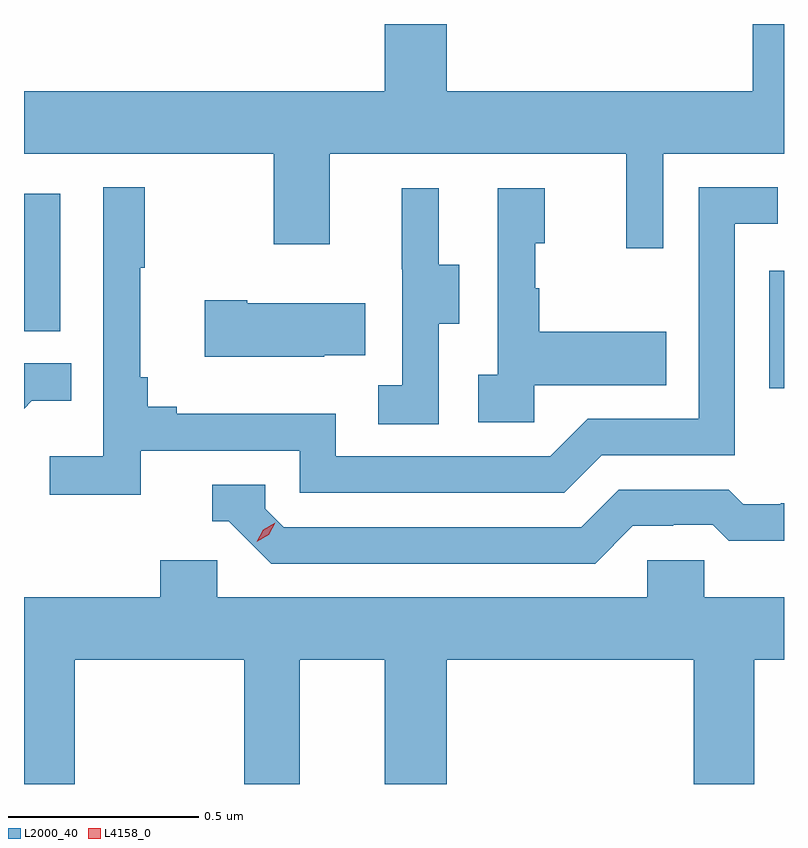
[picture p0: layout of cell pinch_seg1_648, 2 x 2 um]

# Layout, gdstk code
import gdstk
lib = gdstk.Library(unit=1e-6, precision=1e-09)
def R(c, l, rs):  # rectangles x0, y0, x1, y1
    for r in rs: c.add(gdstk.rectangle(r[:2], r[2:], *l))
def P(c, l, *ps):  # polygons
    for p in ps: c.add(gdstk.Polygon(p, *l))
L2000_40 = (2000, 40)
L4158_0 = (4158, 0)

pinch_seg1_648 = lib.new_cell('pinch_seg1_648')
R(pinch_seg1_648, L2000_40, [(1089.096,520.479,1089.135,520.788), (1087.135,520.629,1087.231,520.99)])
P(pinch_seg1_648, L2000_40, [(1088.817,521.096),(1089.135,521.096),(1089.135,521.437),(1089.053,521.437),(1089.053,521.26),(1088.248,521.26),(1088.248,521.437),(1088.084,521.437),(1088.084,521.26),(1087.135,521.26),(1087.135,521.096),(1087.792,521.096),(1087.792,520.857),(1087.939,520.857),(1087.939,521.096),(1088.72,521.096),(1088.72,520.847),(1088.817,520.847)],
  [(1087.442,520.314),(1087.86,520.314),(1087.86,520.203),(1088.557,520.203),(1088.656,520.302),(1089.006,520.302),(1089.006,520.911),(1089.119,520.911),(1089.119,521.007),(1088.91,521.007),(1088.91,520.398),(1088.619,520.398),(1088.52,520.299),(1087.956,520.299),(1087.956,520.411),(1087.537,520.411),(1087.537,520.43),(1087.46,520.43),(1087.46,520.507),(1087.441,520.507),(1087.441,520.795),(1087.453,520.795),(1087.453,521.008),(1087.344,521.008),(1087.344,520.3),(1087.203,520.3),(1087.203,520.198),(1087.442,520.198)],
  [(1088.226,520.648),(1088.281,520.648),(1088.281,520.803),(1088.227,520.803),(1088.227,521.005),(1088.129,521.005),(1088.129,520.791),(1088.13,520.791),(1088.13,520.487),(1088.067,520.487),(1088.067,520.384),(1088.226,520.384)],
  [(1088.478,520.487),(1088.825,520.487),(1088.825,520.627),(1088.491,520.627),(1088.491,520.742),(1088.481,520.742),(1088.481,520.86),(1088.506,520.86),(1088.506,521.005),(1088.382,521.005),(1088.382,520.514),(1088.331,520.514),(1088.331,520.389),(1088.478,520.389)],
  [(1087.925,520.565),(1088.033,520.565),(1088.033,520.702),(1087.723,520.702),(1087.723,520.71),(1087.611,520.71),(1087.611,520.562),(1087.925,520.562)],
  [(1087.155,520.445),(1087.259,520.445),(1087.259,520.544),(1087.135,520.544),(1087.135,520.425)],
  [(1088.737,520.116),(1088.844,520.116),(1088.844,520.119),(1088.947,520.119),(1088.989,520.077),(1089.135,520.077),(1089.135,520.176),(1089.127,520.176),(1089.127,520.173),(1089.028,520.173),(1088.989,520.212),(1088.7,520.212),(1088.601,520.113),(1087.818,520.113),(1087.77,520.161),(1087.77,520.224),(1087.631,520.224),(1087.631,520.128),(1087.674,520.128),(1087.785,520.017),(1088.638,520.017)],
  [(1087.644,520.026),(1087.493,520.026),(1087.493,519.928),(1087.135,519.928),(1087.135,519.437),(1087.269,519.437),(1087.269,519.764),(1087.714,519.764),(1087.714,519.437),(1087.861,519.437),(1087.861,519.764),(1088.084,519.764),(1088.084,519.437),(1088.248,519.437),(1088.248,519.764),(1088.897,519.764),(1088.897,519.437),(1089.057,519.437),(1089.057,519.764),(1089.135,519.764),(1089.135,519.928),(1088.925,519.928),(1088.925,520.026),(1088.775,520.026),(1088.775,519.928),(1087.644,519.928)])
P(pinch_seg1_648, L4158_0, [(1087.748,520.074),(1087.748,520.074),(1087.765,520.106),(1087.796,520.125),(1087.796,520.125),(1087.796,520.125),(1087.779,520.093),(1087.748,520.074)])

lib.write_gds('pinch_seg1_648.gds')
